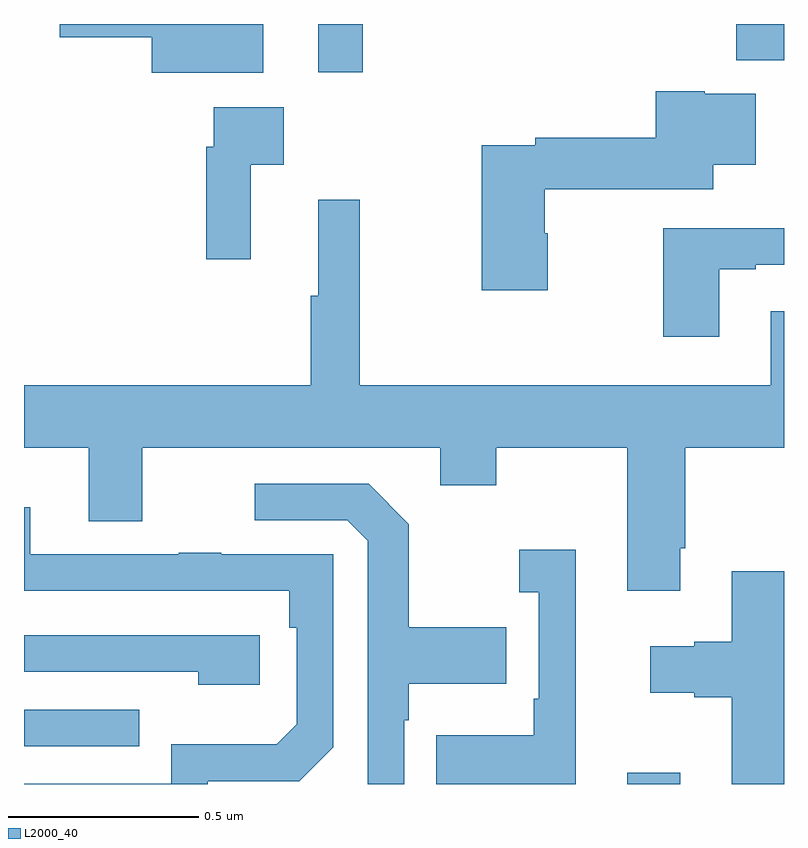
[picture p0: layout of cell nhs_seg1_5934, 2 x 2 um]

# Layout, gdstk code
import gdstk
lib = gdstk.Library(unit=1e-6, precision=1e-09)
def R(c, l, rs):  # rectangles x0, y0, x1, y1
    for r in rs: c.add(gdstk.rectangle(r[:2], r[2:], *l))
def P(c, l, *ps):  # polygons
    for p in ps: c.add(gdstk.Polygon(p, *l))
L2000_40 = (2000, 40)

nhs_seg1_5934 = lib.new_cell('nhs_seg1_5934')
R(nhs_seg1_5934, L2000_40, [(186.587,532.199,186.727,532.228), (185,532.299,185.303,532.395), (185.774,534.072,185.891,534.199), (186.874,534.104,187,534.199)])
P(nhs_seg1_5934, L2000_40, [(185.629,534.199),(185.094,534.199),(185.094,534.164),(185.336,534.164),(185.336,534.071),(185.629,534.071)],
  [(186.378,533.649),(186.37,533.649),(186.37,533.764),(186.814,533.764),(186.814,533.828),(186.925,533.828),(186.925,534.016),(186.792,534.016),(186.792,534.022),(186.662,534.022),(186.662,533.9),(186.346,533.9),(186.346,533.88),(186.205,533.88),(186.205,533.499),(186.378,533.499)],
  [(185.597,533.828),(185.683,533.828),(185.683,533.98),(185.499,533.98),(185.499,533.876),(185.479,533.876),(185.479,533.58),(185.597,533.58)],
  [(186.727,532.819),(186.74,532.819),(186.74,533.084),(187,533.084),(187,533.443),(186.965,533.443),(186.965,533.248),(185.884,533.248),(185.884,533.737),(185.774,533.737),(185.774,533.484),(185.755,533.484),(185.755,533.248),(185,533.248),(185,533.084),(185.171,533.084),(185.171,532.89),(185.311,532.89),(185.311,533.084),(186.095,533.084),(186.095,532.985),(186.243,532.985),(186.243,533.084),(186.587,533.084),(186.587,532.707),(186.727,532.707)],
  [(186.829,533.553),(186.925,533.553),(186.925,533.565),(187,533.565),(187,533.662),(186.682,533.662),(186.682,533.376),(186.829,533.376)],
  [(186,532.367),(186.013,532.367),(186.013,532.463),(186.269,532.463),(186.269,532.611),(186.013,532.611),(186.013,532.883),(185.907,532.989),(185.607,532.989),(185.607,532.893),(185.85,532.893),(185.904,532.839),(185.904,532.199),(186,532.199)],
  [(185.484,532.206),(185.724,532.206),(185.814,532.296),(185.814,532.803),(185.519,532.803),(185.519,532.808),(185.407,532.808),(185.407,532.803),(185.017,532.803),(185.017,532.927),(185,532.927),(185,532.708),(185.023,532.708),(185.023,532.707),(185.698,532.707),(185.698,532.61),(185.718,532.61),(185.718,532.356),(185.665,532.303),(185.388,532.303),(185.388,532.2),(185,532.2),(185,532.199),(185.484,532.199)],
  [(186.452,532.816),(186.303,532.816),(186.303,532.703),(186.354,532.703),(186.354,532.423),(186.342,532.423),(186.342,532.327),(186.085,532.327),(186.085,532.199),(186.452,532.199)],
  [(187,532.759),(186.863,532.759),(186.863,532.574),(186.764,532.574),(186.764,532.561),(186.648,532.561),(186.648,532.439),(186.764,532.439),(186.764,532.427),(186.863,532.427),(186.863,532.199),(187,532.199)],
  [(185.62,532.59),(185,532.59),(185,532.494),(185.459,532.494),(185.459,532.46),(185.62,532.46)])

lib.write_gds('nhs_seg1_5934.gds')
